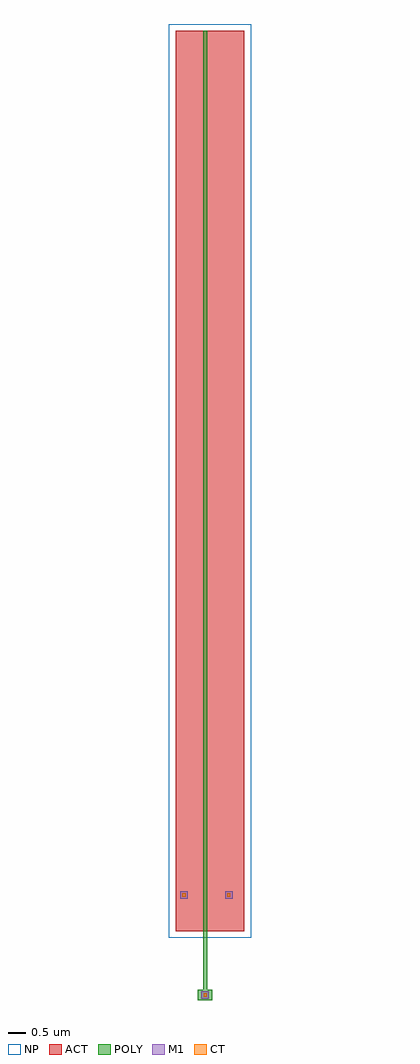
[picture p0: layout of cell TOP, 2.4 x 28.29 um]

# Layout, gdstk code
import gdstk
lib = gdstk.Library(unit=1e-6, precision=1e-09)
def R(c, l, rs):  # rectangles x0, y0, x1, y1
    for r in rs: c.add(gdstk.rectangle(r[:2], r[2:], *l))
ACT = (2, 1)
POLY = (41, 1)
NP = (52, 1)
CT = (72, 1)
M1 = (81, 1)

top = lib.new_cell('TOP')
R(top, ACT, [(0,0,2,26.09)])
R(top, POLY, [(0.65,-2,1.07,-1.7), (0.8,-2,0.92,26.09)])
R(top, NP, [(-0.2,-0.2,2.2,26.29)])
R(top, CT, [(0.815,-1.9,0.905,-1.81), (0.2,1,0.29,1.09), (1.5,1,1.59,1.09)])
R(top, M1, [(0.75,-1.965,0.97,-1.745), (0.135,0.935,0.355,1.155), (1.435,0.935,1.655,1.155)])

lib.write_gds('TOP.gds')
